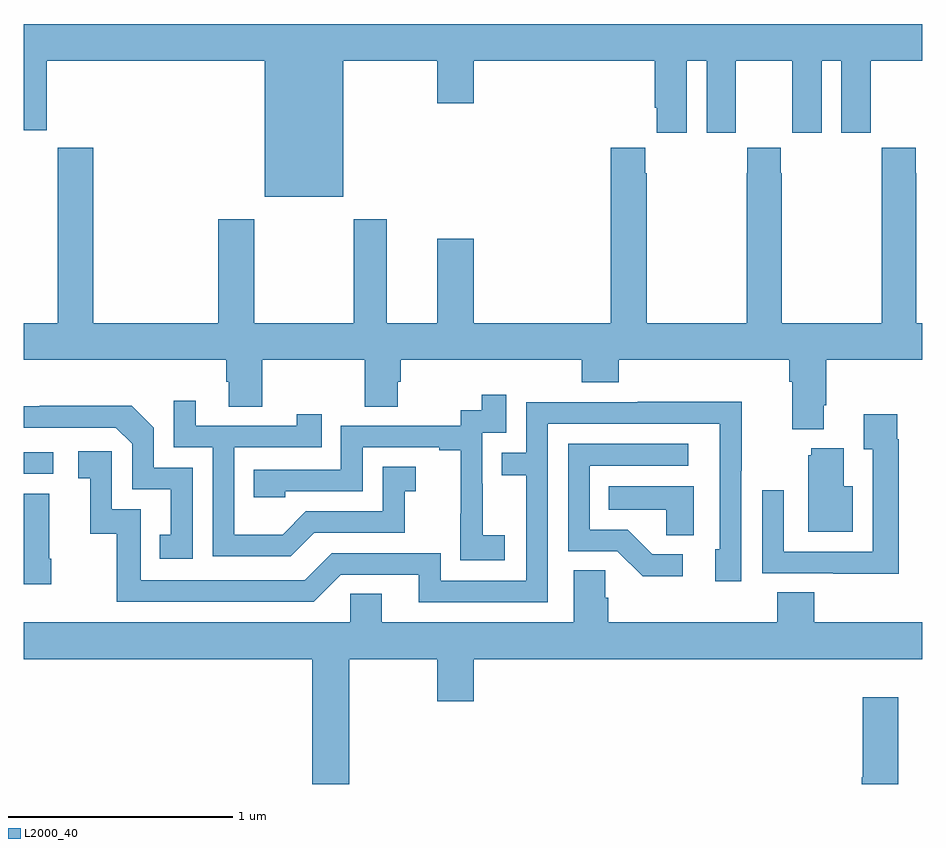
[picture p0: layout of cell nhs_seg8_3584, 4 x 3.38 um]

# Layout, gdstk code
import gdstk
lib = gdstk.Library(unit=1e-6, precision=1e-09)
def R(c, l, rs):  # rectangles x0, y0, x1, y1
    for r in rs: c.add(gdstk.rectangle(r[:2], r[2:], *l))
def P(c, l, *ps):  # polygons
    for p in ps: c.add(gdstk.Polygon(p, *l))
L2000_40 = (2000, 40)

nhs_seg8_3584 = lib.new_cell('nhs_seg8_3584')
R(nhs_seg8_3584, L2000_40, [(331,1161.282,331.132,1161.378)])
P(nhs_seg8_3584, L2000_40, [(332.422,1163.12),(332.84,1163.12),(332.84,1162.932),(333.004,1162.932),(333.004,1163.12),(333.809,1163.12),(333.809,1162.912),(333.818,1162.912),(333.818,1162.8),(333.952,1162.8),(333.952,1163.12),(334.04,1163.12),(334.04,1162.8),(334.17,1162.8),(334.17,1162.912),(334.171,1162.912),(334.171,1163.12),(334.421,1163.12),(334.421,1162.912),(334.422,1162.912),(334.422,1162.8),(334.552,1162.8),(334.552,1163.12),(334.64,1163.12),(334.64,1162.8),(334.77,1162.8),(334.77,1162.912),(334.771,1162.912),(334.771,1163.12),(335,1163.12),(335,1163.284),(331,1163.284),(331,1162.811),(331.102,1162.811),(331.102,1163.12),(332.072,1163.12),(332.072,1162.514),(332.422,1162.514)],
  [(334.561,1161.586),(334.574,1161.586),(334.574,1161.788),(335,1161.788),(335,1161.952),(334.974,1161.952),(334.974,1162.619),(334.971,1162.619),(334.971,1162.732),(334.821,1162.732),(334.821,1162.619),(334.819,1162.619),(334.819,1161.952),(334.374,1161.952),(334.374,1162.619),(334.371,1162.619),(334.371,1162.732),(334.221,1162.732),(334.221,1162.619),(334.219,1162.619),(334.219,1161.952),(333.774,1161.952),(333.774,1162.619),(333.767,1162.619),(333.767,1162.732),(333.614,1162.732),(333.614,1161.952),(333.004,1161.952),(333.004,1162.327),(332.84,1162.327),(332.84,1161.952),(332.617,1161.952),(332.617,1162.414),(332.47,1162.414),(332.47,1161.952),(332.025,1161.952),(332.025,1162.414),(331.865,1162.414),(331.865,1161.952),(331.31,1161.952),(331.31,1162.732),(331.15,1162.732),(331.15,1161.952),(331,1161.952),(331,1161.788),(331.901,1161.788),(331.901,1161.69),(331.913,1161.69),(331.913,1161.58),(332.061,1161.58),(332.061,1161.788),(332.518,1161.788),(332.518,1161.58),(332.665,1161.58),(332.665,1161.69),(332.678,1161.69),(332.678,1161.788),(333.485,1161.788),(333.485,1161.689),(333.65,1161.689),(333.65,1161.788),(334.409,1161.788),(334.409,1161.692),(334.421,1161.692),(334.421,1161.479),(334.561,1161.479)],
  [(333.142,1161.007),(333.044,1161.007),(333.044,1161.236),(333.042,1161.236),(333.042,1161.465),(333.147,1161.465),(333.147,1161.634),(333.039,1161.634),(333.039,1161.564),(332.946,1161.564),(332.946,1161.495),(332.412,1161.495),(332.412,1161.3),(332.023,1161.3),(332.023,1161.177),(332.163,1161.177),(332.163,1161.204),(332.508,1161.204),(332.508,1161.399),(332.849,1161.399),(332.849,1161.387),(332.945,1161.387),(332.945,1161.103),(332.944,1161.103),(332.944,1160.897),(333.142,1160.897)],
  [(332.293,1161.018),(332.697,1161.018),(332.697,1161.203),(332.746,1161.203),(332.746,1161.313),(332.598,1161.313),(332.598,1161.114),(332.256,1161.114),(332.152,1161.01),(331.938,1161.01),(331.938,1161.399),(332.327,1161.399),(332.327,1161.547),(332.216,1161.547),(332.216,1161.495),(331.765,1161.495),(331.765,1161.607),(331.668,1161.607),(331.668,1161.399),(331.842,1161.399),(331.842,1160.913),(332.188,1160.913)],
  [(333.333,1161.504),(334.098,1161.504),(334.098,1160.946),(334.079,1160.946),(334.079,1160.802),(334.194,1160.802),(334.194,1161.295),(334.197,1161.295),(334.197,1161.602),(333.733,1161.602),(333.733,1161.6),(333.237,1161.6),(333.237,1161.375),(333.127,1161.375),(333.127,1161.274),(333.237,1161.274),(333.237,1160.805),(332.856,1160.805),(332.856,1160.928),(332.37,1160.928),(332.25,1160.808),(331.521,1160.808),(331.521,1161.123),(331.392,1161.123),(331.392,1161.382),(331.242,1161.382),(331.242,1161.261),(331.295,1161.261),(331.295,1161.015),(331.413,1161.015),(331.413,1160.712),(332.292,1160.712),(332.412,1160.832),(332.759,1160.832),(332.759,1160.709),(333.333,1160.709)],
  [(331.752,1161.309),(331.578,1161.309),(331.578,1161.486),(331.48,1161.584),(331.072,1161.584),(331.072,1161.582),(331,1161.582),(331,1161.486),(331.41,1161.486),(331.482,1161.414),(331.482,1161.213),(331.655,1161.213),(331.655,1161.009),(331.606,1161.009),(331.606,1160.904),(331.752,1160.904)],
  [(334.895,1161.434),(334.888,1161.434),(334.888,1161.547),(334.739,1161.547),(334.739,1161.391),(334.779,1161.391),(334.779,1160.934),(334.383,1160.934),(334.383,1161.208),(334.287,1161.208),(334.287,1160.838),(334.603,1160.838),(334.603,1160.837),(334.895,1160.837)],
  [(333.934,1160.922),(333.799,1160.922),(333.688,1161.033),(333.519,1161.033),(333.519,1161.318),(333.958,1161.318),(333.958,1161.414),(333.423,1161.414),(333.423,1160.937),(333.642,1160.937),(333.755,1160.825),(333.934,1160.825)],
  [(334.69,1161.226),(334.651,1161.226),(334.651,1161.394),(334.505,1161.394),(334.505,1161.363),(334.493,1161.363),(334.493,1161.023),(334.69,1161.023)],
  [(333.982,1161.226),(333.604,1161.226),(333.604,1161.122),(333.861,1161.122),(333.861,1161.007),(333.982,1161.007)],
  [(331.122,1160.902),(331.114,1160.902),(331.114,1161.193),(331,1161.193),(331,1160.79),(331.122,1160.79)],
  [(332.449,1160.456),(332.84,1160.456),(332.84,1160.268),(333.004,1160.268),(333.004,1160.456),(335,1160.456),(335,1160.62),(334.52,1160.62),(334.52,1160.753),(334.355,1160.753),(334.355,1160.62),(333.602,1160.62),(333.602,1160.729),(333.588,1160.729),(333.588,1160.852),(333.449,1160.852),(333.449,1160.62),(332.593,1160.62),(332.593,1160.747),(332.454,1160.747),(332.454,1160.62),(331,1160.62),(331,1160.456),(332.285,1160.456),(332.285,1159.9),(332.449,1159.9)],
  [(334.894,1160.287),(334.736,1160.287),(334.736,1159.929),(334.73,1159.929),(334.73,1159.9),(334.894,1159.9)])

lib.write_gds('nhs_seg8_3584.gds')
